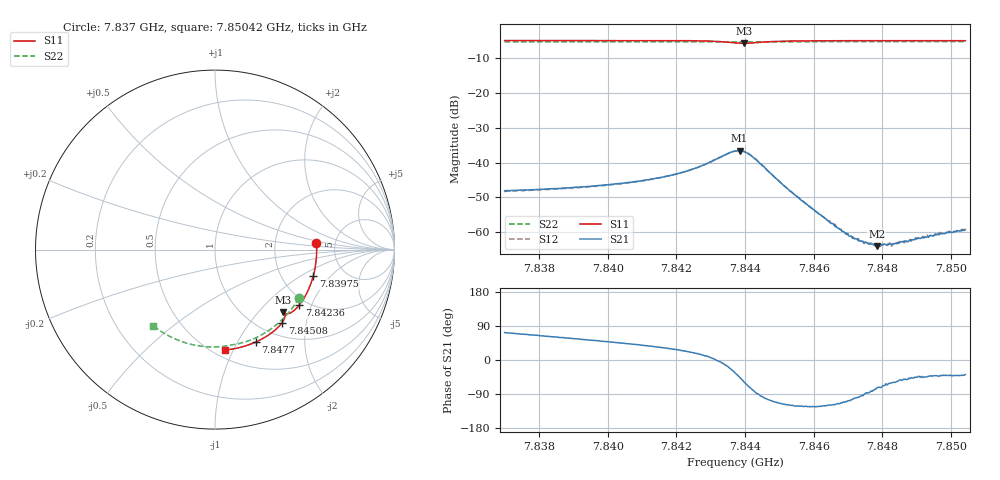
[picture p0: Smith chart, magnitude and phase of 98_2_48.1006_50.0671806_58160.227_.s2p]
#  HZ  S  RI  R  50.00
! Rohde & Schwarz Vector Network Analyzer
! Rohde-Schwarz,ZNB20-2Port,1311601062101988,3.16
! Created: UTC 12/23/2023, 3:44:28 AM
! freq[Hz]  re:S11  im:S11  re:S21  im:S21  re:S12  im:S12  re:S22  im:S22
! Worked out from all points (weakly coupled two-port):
!   401 points, 7.837 GHz to 7.85042 GHz, reference 50 ohm
!   highest |S21| = -36.56 dB at 7.84384 GHz (marker M1); lowest = -64.0 dB at 7.84783 GHz (marker M2)
!   lowest |S11| = -5.8 dB at 7.84398 GHz (marker M3), VSWR 3.13, Z = 72.9 - j69 ohm
!   |S11| at or under -10 dB: nowhere
!   |S22| runs from -5.4 to -5.3 dB; largest |S21 - S12| = 0.00033
!   S11 on the Smith chart (normalised r, x): 7.837 GHz: 3.57, +0.38; 7.83975 GHz: 3.00, -1.30; 7.84236 GHz: 1.81, -1.64; 7.84508 GHz: 1.24, -1.46; 7.8477 GHz: 0.79, -1.20; 7.85042 GHz: 0.57, -0.93
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7.836997e9  0.5651 0.0358  0.00119 0.00376  0.00119 0.00365  0.4672 -0.2701
7.839245e9  0.5556 -0.1134  0.00259 0.00363  0.00258 0.0036  0.3703 -0.3936
7.839748e9  0.5477 -0.1464  0.00299 0.00364  0.00299 0.00355  0.3438 -0.4171
7.841493e9  0.5039 -0.257  0.00504 0.00337  0.00498 0.00339  0.2418 -0.4842
7.842365e9  0.4696 -0.3096  0.00719 0.00285  0.00717 0.00288  0.1855 -0.5085
7.843203e9  0.4204 -0.3525  0.0114 -0.000311  0.0115 -0.000305  0.1289 -0.525
7.843707e9  0.385 -0.3548  0.0121 -0.00814  0.0123 -0.00807  0.095 -0.5308
7.843841e9  0.3809 -0.3506  0.0104 -0.0106  0.0104 -0.0104  0.0867 -0.532
7.843975e9  0.3812 -0.3474  0.00756 -0.0123  0.00763 -0.0122  0.0782 -0.5334
7.844311e9  0.3899 -0.3557  0.000731 -0.0112  0.000986 -0.0111  0.0563 -0.5376
7.845082e9  0.3738 -0.4072  -0.00213 -0.00442  -0.00214 -0.00446  0.00245 -0.5427
7.845954e9  0.3302 -0.4524  -0.0012 -0.00184  -0.00121 -0.00185  -0.0591 -0.5405
7.846894e9  0.277 -0.4893  -0.000372 -0.000932  -0.000385 -0.000908  -0.1243 -0.5299
7.847095e9  0.265 -0.496  -0.000221 -0.000845  -0.000229 -0.000848  -0.138 -0.5266
7.847397e9  0.2469 -0.5057  -3.74e-05 -0.000751  -6.66e-05 -0.000737  -0.1586 -0.521
7.847699e9  0.2286 -0.5143  8.91e-05 -0.000677  6.9e-05 -0.000684  -0.1788 -0.5147
7.847833e9  0.2204 -0.518  0.000176 -0.000607  0.000161 -0.000658  -0.1875 -0.5116
7.848202e9  0.1973 -0.5274  0.000323 -0.00059  0.000302 -0.000613  -0.2119 -0.5022
7.848336e9  0.1887 -0.5304  0.000355 -0.000592  0.000382 -0.000564  -0.2203 -0.4987
7.848504e9  0.1782 -0.5343  0.000435 -0.00056  0.000381 -0.000611  -0.2312 -0.4937
7.849712e9  0.1001 -0.5536  0.000725 -0.000616  0.000736 -0.000638  -0.305 -0.4526
7.850416e9  0.0537 -0.5598  0.000853 -0.000677  0.000837 -0.000727  -0.3451 -0.4234
